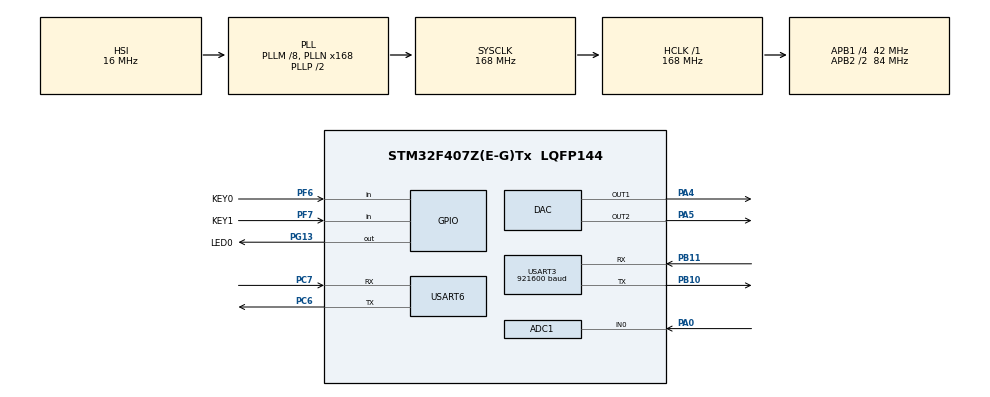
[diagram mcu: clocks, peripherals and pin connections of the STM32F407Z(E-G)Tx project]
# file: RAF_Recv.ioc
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ADC1.Channel-0\#ChannelRegularConversion=ADC_CHANNEL_0
ADC1.ContinuousConvMode=DISABLE
ADC1.DMAContinuousRequests=ENABLE
ADC1.DiscontinuousConvMode=DISABLE
ADC1.ExternalTrigConv=ADC_EXTERNALTRIGCONV_T2_TRGO
ADC1.InjNumberOfConversion=0
ADC1.NbrOfConversion=1
ADC1.NbrOfConversionFlag=1
ADC1.Rank-0\#ChannelRegularConversion=1
ADC1.SamplingTime-0\#ChannelRegularConversion=ADC_SAMPLETIME_3CYCLES
ADC1.ScanConvMode=DISABLE
ADC1.master=1
DAC.DAC_OutputBuffer=DAC_OUTPUTBUFFER_DISABLE
DAC.DAC_OutputBuffer2=DAC_OUTPUTBUFFER_DISABLE
DAC.DAC_Trigger=DAC_TRIGGER_T2_TRGO
DAC.DAC_Trigger2=DAC_TRIGGER_T4_TRGO
Dma.ADC1.1.Direction=DMA_PERIPH_TO_MEMORY
Dma.ADC1.1.FIFOMode=DMA_FIFOMODE_DISABLE
Dma.ADC1.1.Instance=DMA2_Stream0
Dma.ADC1.1.MemDataAlignment=DMA_MDATAALIGN_HALFWORD
Dma.ADC1.1.MemInc=DMA_MINC_ENABLE
Dma.ADC1.1.Mode=DMA_NORMAL
Dma.ADC1.1.PeriphDataAlignment=DMA_PDATAALIGN_HALFWORD
Dma.ADC1.1.PeriphInc=DMA_PINC_DISABLE
Dma.ADC1.1.Priority=DMA_PRIORITY_LOW
Dma.DAC1.2.Direction=DMA_MEMORY_TO_PERIPH
Dma.DAC1.2.FIFOMode=DMA_FIFOMODE_DISABLE
Dma.DAC1.2.Instance=DMA1_Stream5
Dma.DAC1.2.MemDataAlignment=DMA_MDATAALIGN_HALFWORD
Dma.DAC1.2.MemInc=DMA_MINC_ENABLE
Dma.DAC1.2.Mode=DMA_CIRCULAR
Dma.DAC1.2.PeriphDataAlignment=DMA_PDATAALIGN_HALFWORD
Dma.DAC1.2.PeriphInc=DMA_PINC_DISABLE
Dma.DAC1.2.Priority=DMA_PRIORITY_LOW
Dma.DAC2.3.Direction=DMA_MEMORY_TO_PERIPH
Dma.DAC2.3.FIFOMode=DMA_FIFOMODE_DISABLE
Dma.DAC2.3.Instance=DMA1_Stream6
Dma.DAC2.3.MemDataAlignment=DMA_MDATAALIGN_HALFWORD
Dma.DAC2.3.MemInc=DMA_MINC_ENABLE
Dma.DAC2.3.Mode=DMA_CIRCULAR
Dma.DAC2.3.PeriphDataAlignment=DMA_PDATAALIGN_HALFWORD
Dma.DAC2.3.PeriphInc=DMA_PINC_DISABLE
Dma.DAC2.3.Priority=DMA_PRIORITY_LOW
Dma.Request0=USART6_RX
Dma.Request1=ADC1
Dma.Request2=DAC1
Dma.Request3=DAC2
Dma.USART6_RX.0.Direction=DMA_PERIPH_TO_MEMORY
Dma.USART6_RX.0.FIFOMode=DMA_FIFOMODE_DISABLE
Dma.USART6_RX.0.Instance=DMA2_Stream1
Dma.USART6_RX.0.MemDataAlignment=DMA_MDATAALIGN_BYTE
Dma.USART6_RX.0.MemInc=DMA_MINC_ENABLE
Dma.USART6_RX.0.Mode=DMA_CIRCULAR
Dma.USART6_RX.0.PeriphDataAlignment=DMA_PDATAALIGN_BYTE
Dma.USART6_RX.0.PeriphInc=DMA_PINC_DISABLE
Dma.USART6_RX.0.Priority=DMA_PRIORITY_LOW
Mcu.Family=STM32F4
Mcu.Name=STM32F407Z(E-G)Tx
Mcu.Package=LQFP144
NVIC.ADC_IRQn=true\:0\:0\:false\:false\:true\:true\:true
NVIC.PriorityGroup=NVIC_PRIORITYGROUP_4
NVIC.USART6_IRQn=true\:0\:0\:false\:false\:true\:true\:true
PA0-WKUP.Signal=ADCx_IN0
PA13.Mode=Serial_Wire
PA13.Signal=SYS_JTMS-SWDIO
PA14.Mode=Serial_Wire
PA14.Signal=SYS_JTCK-SWCLK
PA4.Signal=COMP_DAC1_group
PA5.Signal=COMP_DAC2_group
PB10.Mode=Asynchronous
PB10.Signal=USART3_TX
PB11.Mode=Asynchronous
PB11.Signal=USART3_RX
PC14-OSC32_IN.Mode=LSE-External-Oscillator
PC14-OSC32_IN.Signal=RCC_OSC32_IN
PC15-OSC32_OUT.Mode=LSE-External-Oscillator
PC15-OSC32_OUT.Signal=RCC_OSC32_OUT
PC6.Mode=Asynchronous
PC6.Signal=USART6_TX
PC7.Mode=Asynchronous
PC7.Signal=USART6_RX
PF6.GPIO_Label=KEY0
PF6.GPIO_PuPd=GPIO_PULLUP
PF6.Signal=GPIO_Input
PF7.GPIO_Label=KEY1
PF7.GPIO_PuPd=GPIO_PULLUP
PF7.Signal=GPIO_Input
PG13.GPIO_Label=LED0
PG13.GPIO_PuPd=GPIO_PULLUP
PG13.PinState=GPIO_PIN_SET
PG13.Signal=GPIO_Output
PH0-OSC_IN.Mode=HSE-External-Oscillator
PH0-OSC_IN.Signal=RCC_OSC_IN
PH1-OSC_OUT.Mode=HSE-External-Oscillator
PH1-OSC_OUT.Signal=RCC_OSC_OUT
ProjectManager.HeapSize=0x200
ProjectManager.StackSize=0x800
ProjectManager.TargetToolchain=STM32CubeIDE
RCC.48MHZClocksFreq_Value=84000000
RCC.AHBFreq_Value=168000000
RCC.APB1CLKDivider=RCC_HCLK_DIV4
RCC.APB1Freq_Value=42000000
RCC.APB1TimFreq_Value=84000000
RCC.APB2CLKDivider=RCC_HCLK_DIV2
RCC.APB2Freq_Value=84000000
RCC.APB2TimFreq_Value=168000000
RCC.CortexFreq_Value=168000000
RCC.HCLKFreq_Value=168000000
RCC.HSE_VALUE=25000000
RCC.HSI_VALUE=16000000
RCC.PLLM=8
RCC.PLLN=168
RCC.SYSCLKFreq_VALUE=168000000
RCC.SYSCLKSource=RCC_SYSCLKSOURCE_PLLCLK
RCC.VCOOutputFreq_Value=336000000
SH.ADCx_IN0.0=ADC1_IN0,IN0
SH.COMP_DAC1_group.0=DAC_OUT1,DAC_OUT1
SH.COMP_DAC2_group.0=DAC_OUT2,DAC_OUT2
STMicroelectronics.X-CUBE-ALGOBUILD.1.3.0.LibraryCcDSPOoLibraryJjDSPOoLibrary=true
TIM2.AutoReloadPreload=TIM_AUTORELOAD_PRELOAD_ENABLE
TIM2.Period=1000-1
TIM2.Prescaler=840-1
TIM2.TIM_MasterOutputTrigger=TIM_TRGO_UPDATE
TIM4.AutoReloadPreload=TIM_AUTORELOAD_PRELOAD_ENABLE
TIM4.Period=100-1
TIM4.Prescaler=336-1
TIM4.TIM_MasterOutputTrigger=TIM_TRGO_UPDATE
USART3.BaudRate=921600
USART3.VirtualMode=VM_ASYNC
USART6.VirtualMode=VM_ASYNC
VP_STMicroelectronics.X-CUBE-ALGOBUILD_VS_DSPOoLibraryJjLibrary_1.3.0_1.3.0.Mode=DSPOoLibraryJjLibrary
VP_TIM2_VS_ClockSourceINT.Mode=Internal
VP_TIM4_VS_ClockSourceINT.Mode=Internal
VP_TIM6_VS_ClockSourceINT.Mode=Enable_Timer
VP_TIM6_VS_OPM.Mode=OPM_bit
board=custom

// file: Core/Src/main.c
/* USER CODE BEGIN Header */
/**
  ******************************************************************************
  * @file           : main.c
  * @brief          : Main program body
  ******************************************************************************
  * @attention
  *
  * Copyright (c) 2022 STMicroelectronics.
  * All rights reserved.
  *
  * This software is licensed under terms that can be found in the LICENSE file
  * in the root directory of this software component.
  * If no LICENSE file comes with this software, it is provided AS-IS.
  *
  ******************************************************************************
  */
/* USER CODE END Header */
#include "main.h"
#include "adc.h"
#include "dac.h"
#include "dma.h"
#include "tim.h"
#include "usart.h"
#include "gpio.h"

/* USER CODE BEGIN Includes */
#include "ad_da.h"
#include "ESP8266.h"
#include "stdio.h"
#include "hmi_driver.h"
#include "hmi_user_uart.h"
#include "cmd_queue.h"
#include "cmd_process.h"
#include "base.h"
/* USER CODE END Includes */

void SystemClock_Config(void);

int main(void)
{
  /* USER CODE BEGIN 1 */
//	u8 test[80]={
//			100,107,115,123,130,138,145,152,158,164,170,176,180,185,189,192,
//			195,197,198,199,200,199,198,197,195,192,189,185,180,176,170,164,
//			158,152,145,138,130,123,115,107,100,92,84,76,69,61,54,47,
//			41,35,29,23,19,14,10,7,4,2,1,0,0,0,1,2,
//			4,7,10,14,19,23,29,35,41,47,54,61,69,76,84,92
//	};
  /* USER CODE END 1 */

  /* MCU Configuration--------------------------------------------------------*/

  /* Reset of all peripherals, Initializes the Flash interface and the Systick. */
  HAL_Init();

  /* Configure the system clock */
  SystemClock_Config();

  /* Initialize all configured peripherals */
  MX_GPIO_Init();
  MX_DMA_Init();
  MX_USART3_UART_Init();
  MX_USART6_UART_Init();
  MX_TIM6_Init();
  MX_ADC1_Init();
  MX_DAC_Init();
  MX_TIM2_Init();
  MX_TIM4_Init();
  /* USER CODE BEGIN 2 */
  	ad_daStartGet();
	char buf[128];

	init();

	while(sendCmd("AT", "OK", 100) == Timeout){
		quitTrans(); //退出透传
	}

	sendCmd("ATE0"    , "OK" , 100);  //关闭回显
	//	sendCmd("AT+CWLAP", "OK" , 5000); //显示可加入的AP

	/* 加入wifi */
//	sprintf(buf,"AT+CWJAP=\"%s\",\"%s\"","dxxy16-403-1","1234567890");
//	sprintf(buf,"AT+CWJAP=\"%s\",\"%s\"","Yogurt","qwertyuiop");
	sprintf(buf,"AT+CWJAP=\"%s\",\"%s\"","dxxy16-402-1","dxxy16402");
	sendCmd(buf, "WIFI GOT IP", 15000); //加入AP
	send((char*)"", "OK"         , 2000); //加入AP

	/* 设置IP */
	sprintf(buf,"AT+CIPSTA=\"%s\"", "192.168.0.233");
	sendCmd(buf, "OK", 15000);

	/* 与PC机建立连接 */
	sprintf(buf,"AT+CIPSTART=\"%s\",\"%s\",%s", "TCP", "192.168.0.171", "8087");
//	sprintf(buf,"AT+CIPSTART=\"%s\",\"%s\",%s", "TCP", "192.168.43.66", "8087");
	sendCmd(buf, "OK", 15000);

	/* 进入透传模式 */
	sendCmd("AT+CIPMODE=1", "OK", 200); //开启透传模式
	sendCmd("AT+CIPSEND"  , ">", 100); //进入透传

//	while(1)
//	{
//		static int num =0;
//
//		sprintf(buf,"%4d\r\n",num++);
//		HAL_Delay(500);
////		//非透传
////		wifi.sendCmd("AT+CIPSEND=6",">",100); //将要发送4个数据
////		wifi.send(buf, "SEND OK", 100);
//		//透传模式
//		if(num==200) num=0;
//		sendNoAck((uint8_t *)buf);
//	}
  /* USER CODE END 2 */

  /* Infinite loop */
  while (1)
  {

  }
}

void SystemClock_Config(void)
{
  RCC_OscInitTypeDef RCC_OscInitStruct = {0};
  RCC_ClkInitTypeDef RCC_ClkInitStruct = {0};

  /** Configure the main internal regulator output voltage
  */
  __HAL_RCC_PWR_CLK_ENABLE();
  __HAL_PWR_VOLTAGESCALING_CONFIG(PWR_REGULATOR_VOLTAGE_SCALE1);
  /** Initializes the RCC Oscillators according to the specified parameters
  * in the RCC_OscInitTypeDef structure.
  */
  RCC_OscInitStruct.OscillatorType = RCC_OSCILLATORTYPE_HSI;
  RCC_OscInitStruct.HSIState = RCC_HSI_ON;
  RCC_OscInitStruct.HSICalibrationValue = RCC_HSICALIBRATION_DEFAULT;
  RCC_OscInitStruct.PLL.PLLState = RCC_PLL_ON;
  RCC_OscInitStruct.PLL.PLLSource = RCC_PLLSOURCE_HSI;
  RCC_OscInitStruct.PLL.PLLM = 8;
  RCC_OscInitStruct.PLL.PLLN = 168;
  RCC_OscInitStruct.PLL.PLLP = RCC_PLLP_DIV2;
  RCC_OscInitStruct.PLL.PLLQ = 4;
  if (HAL_RCC_OscConfig(&RCC_OscInitStruct) != HAL_OK)
  {
    Error_Handler();
  }
  /** Initializes the CPU, AHB and APB buses clocks
  */
  RCC_ClkInitStruct.ClockType = RCC_CLOCKTYPE_HCLK|RCC_CLOCKTYPE_SYSCLK
                              |RCC_CLOCKTYPE_PCLK1|RCC_CLOCKTYPE_PCLK2;
  RCC_ClkInitStruct.SYSCLKSource = RCC_SYSCLKSOURCE_PLLCLK;
  RCC_ClkInitStruct.AHBCLKDivider = RCC_SYSCLK_DIV1;
  RCC_ClkInitStruct.APB1CLKDivider = RCC_HCLK_DIV4;
  RCC_ClkInitStruct.APB2CLKDivider = RCC_HCLK_DIV2;

  if (HAL_RCC_ClockConfig(&RCC_ClkInitStruct, FLASH_LATENCY_5) != HAL_OK)
  {
    Error_Handler();
  }
}

void Error_Handler(void)
{
  __disable_irq();
  while (1)
  {
  }
}
